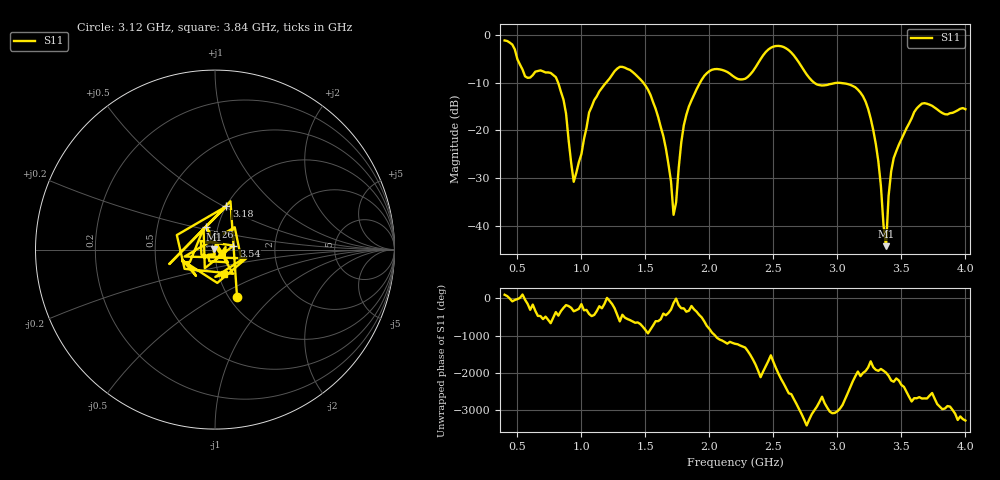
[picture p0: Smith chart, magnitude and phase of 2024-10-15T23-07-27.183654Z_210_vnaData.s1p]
! Created with skrf (http://scikit-rf.org).
# Hz S RI R 50.0
!freq ReS11 ImS11
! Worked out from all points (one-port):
!   181 points, 400 MHz to 4 GHz, reference 50 ohm
!   lowest |S11| = -44.2 dB at 3.38 GHz (marker M1), VSWR 1.01, Z = 49.4 + j0.118 ohm
!   |S11| at or under -10 dB: 818.1 MHz to 1.193 GHz (375.3 MHz wide, 37.3 % of centre); 1.483 GHz to 1.927 GHz (444.3 MHz wide, 26.1 % of centre); 2.818 GHz to end of sweep
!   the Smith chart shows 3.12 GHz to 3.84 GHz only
!   S11 on the Smith chart (normalised r, x): 3.12 GHz: 1.09, -0.63; 3.18 GHz: 1.00, +0.52; 3.26 GHz: 0.88, +0.22; 3.54 GHz: 1.23, +0.06; 3.84 GHz: 1.06, -0.30
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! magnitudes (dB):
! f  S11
! 400 MHz  -1.2
! 560 MHz  -8.7
! 860 MHz  -13.6
! 940 MHz  -30.7
! 1.06 GHz  -16.2
! 1.3 GHz  -6.7
! 1.58 GHz  -15.5
! 1.66 GHz  -23.8
! 1.72 GHz  -37.6
! 1.76 GHz  -27.9
! 1.82 GHz  -16.7
! 1.94 GHz  -9.4
! 2.2 GHz  -8.9
! 2.5 GHz  -2.5
! 2.66 GHz  -4.3
! 2.84 GHz  -10.4
! 3.1 GHz  -10.5
! 3.12 GHz  -10.7
! 3.18 GHz  -12.1
! 3.26 GHz  -17.5
! 3.32 GHz  -26.5
! 3.38 GHz  -44.2
! 3.42 GHz  -28.6
! 3.54 GHz  -19.5
! 3.56 GHz  -18.5
! 3.66 GHz  -14.4
! 3.84 GHz  -16.6
! 4 GHz  -15.5
